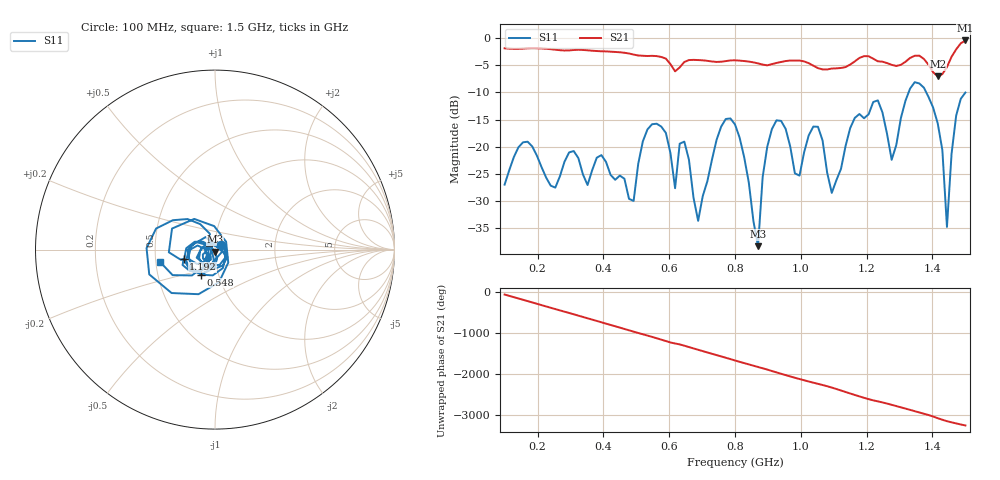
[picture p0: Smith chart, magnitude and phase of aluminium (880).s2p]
! NanoVNA-App
! Date: 2025-09-25 15:02:08
! Start: 100MHz Stop: 1,5GHz Points: 101
! S-Parameter data: F S11 S21 S12 S22
# Hz S RI R 50
!  Frequency  S11_Real  S11_Imag  S21_Real  S21_Imag  S12_Real  S12_Imag  S22_Real  S22_Imag
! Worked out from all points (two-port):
!   101 points, 100 MHz to 1.5 GHz, reference 50 ohm
!   highest |S21| = -0.48 dB at 1.5 GHz (marker M1); lowest = -7.1 dB at 1.416 GHz (marker M2)
!   |S21| within 3 dB of the highest: start of sweep to 573.1 MHz; 1.458 GHz to end of sweep (the widest 2 of 4)
!   lowest |S11| = -38.3 dB at 870 MHz (marker M3), VSWR 1.02, Z = 50 - j1.22 ohm
!   |S11| at or under -10 dB: start of sweep to 1.328 GHz; 1.381 GHz to end of sweep
!   S12 and S22 are empty: the file has one direction only
!   S11 on the Smith chart (normalised r, x): 100 MHz: 1.07, +0.06; 548 MHz: 0.82, -0.24; 1.192 GHz: 0.70, -0.07; 1.5 GHz: 0.53, -0.08
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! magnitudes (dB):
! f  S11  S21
! 100 MHz  -27.0  -1.9
! 156 MHz  -19.2  -2.0
! 338 MHz  -25.1  -2.2
! 492 MHz  -29.9  -3.1
! 548 MHz  -15.9  -3.3
! 576 MHz  -16.3  -3.5
! 618 MHz  -27.6  -6.2
! 646 MHz  -19.1  -4.4
! 688 MHz  -33.6  -4.1
! 800 MHz  -15.9  -4.1
! 870 MHz  -38.3  -4.7
! 912 MHz  -16.8  -4.8
! 996 MHz  -25.3  -4.2
! 1.038 GHz  -16.3  -5.1
! 1.094 GHz  -28.5  -5.6
! 1.192 GHz  -14.8  -3.4
! 1.276 GHz  -22.4  -5.0
! 1.346 GHz  -8.1  -3.3
! 1.416 GHz  -15.7  -7.1
! 1.444 GHz  -34.7  -5.4
! 1.472 GHz  -14.3  -2.1
! 1.5 GHz  -10.0  -0.5
